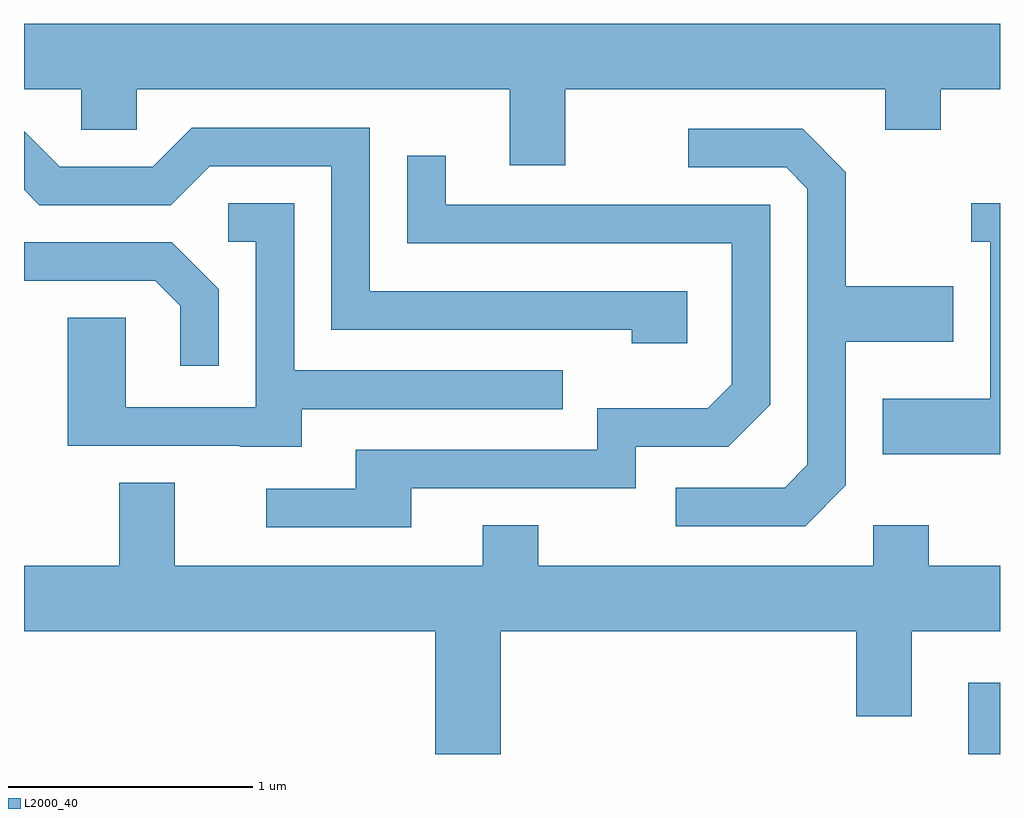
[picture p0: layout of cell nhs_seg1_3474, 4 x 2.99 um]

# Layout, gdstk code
import gdstk
lib = gdstk.Library(unit=1e-6, precision=1e-09)
def R(c, l, rs):  # rectangles x0, y0, x1, y1
    for r in rs: c.add(gdstk.rectangle(r[:2], r[2:], *l))
def P(c, l, *ps):  # polygons
    for p in ps: c.add(gdstk.Polygon(p, *l))
L2000_40 = (2000, 40)

nhs_seg1_3474 = lib.new_cell('nhs_seg1_3474')
R(nhs_seg1_3474, L2000_40, [(293.481,925.712,293.611,926.004)])
P(nhs_seg1_3474, L2000_40, [(291.829,928.436),(293.141,928.436),(293.141,928.271),(293.369,928.271),(293.369,928.436),(293.611,928.436),(293.611,928.704),(289.611,928.704),(289.611,928.436),(289.846,928.436),(289.846,928.271),(290.074,928.271),(290.074,928.436),(291.601,928.436),(291.601,928.126),(291.829,928.126)],
  [(292.329,927.609),(291.029,927.609),(291.029,928.279),(290.299,928.279),(290.139,928.119),(289.757,928.119),(289.611,928.265),(289.611,928.024),(289.674,927.961),(290.212,927.961),(290.372,928.121),(290.871,928.121),(290.871,927.451),(292.101,927.451),(292.101,927.396),(292.329,927.396)],
  [(292.979,926.814),(292.979,927.401),(293.419,927.401),(293.419,927.629),(292.979,927.629),(292.979,928.097),(292.802,928.274),(292.333,928.274),(292.333,928.116),(292.734,928.116),(292.821,928.029),(292.821,926.897),(292.729,926.804),(292.283,926.804),(292.283,926.646),(292.812,926.646)],
  [(291.199,926.801),(292.119,926.801),(292.119,926.971),(292.497,926.971),(292.669,927.144),(292.669,927.964),(291.339,927.964),(291.339,928.163),(291.181,928.163),(291.181,927.806),(292.511,927.806),(292.511,927.227),(292.414,927.129),(291.961,927.129),(291.961,926.959),(290.971,926.959),(290.971,926.799),(290.603,926.799),(290.603,926.641),(291.199,926.641)],
  [(293.611,927.969),(293.493,927.969),(293.493,927.811),(293.571,927.811),(293.571,927.169),(293.131,927.169),(293.131,926.941),(293.611,926.941)],
  [(290.749,927.126),(291.818,927.126),(291.818,927.284),(290.719,927.284),(290.719,927.969),(290.448,927.969),(290.448,927.811),(290.561,927.811),(290.561,927.134),(290.029,927.134),(290.029,927.499),(289.791,927.499),(289.791,926.976),(290.495,926.976),(290.495,926.971),(290.749,926.971)],
  [(290.409,927.617),(290.217,927.809),(289.611,927.809),(289.611,927.651),(290.149,927.651),(290.251,927.549),(290.251,927.303),(290.409,927.303)],
  [(291.564,926.216),(293.021,926.216),(293.021,925.866),(293.249,925.866),(293.249,926.216),(293.611,926.216),(293.611,926.484),(293.319,926.484),(293.319,926.649),(293.091,926.649),(293.091,926.484),(291.719,926.484),(291.719,926.649),(291.491,926.649),(291.491,926.484),(290.229,926.484),(290.229,926.824),(290.001,926.824),(290.001,926.484),(289.611,926.484),(289.611,926.216),(291.296,926.216),(291.296,925.712),(291.564,925.712)])

lib.write_gds('nhs_seg1_3474.gds')
